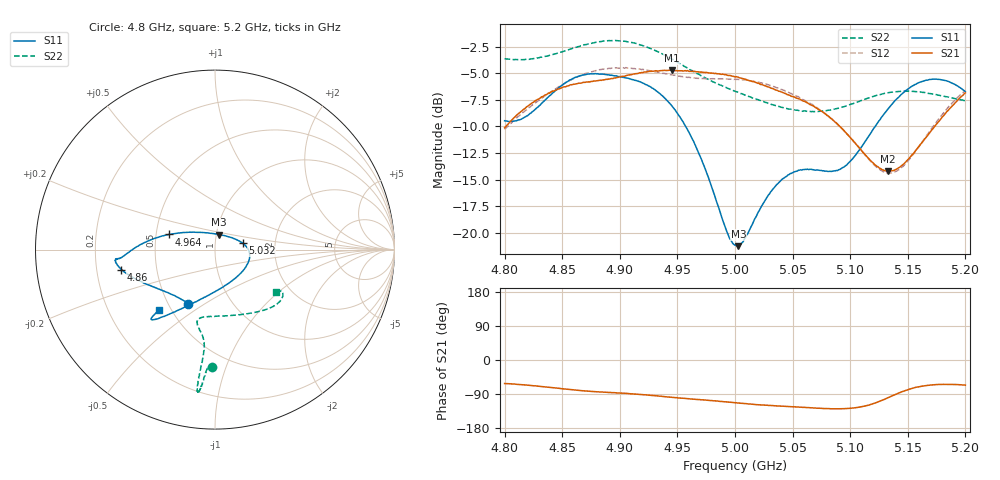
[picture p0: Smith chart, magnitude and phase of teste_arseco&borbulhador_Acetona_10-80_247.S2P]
! Network Analyzer HP8722D
! Hewlett-Packard
! Data name: Linha & Wilkinson
! Saver's name: Rodrigo Anjos
! Comments: Teste da utilização de aquisição
! continua pelo VNA HP8722D
! Time and date: 17/4/2025 16:25
!  Frequency  S11  S21  S12  S22
# HZ  S  MA R 50
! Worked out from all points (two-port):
!   401 points, 4.8 GHz to 5.2 GHz, reference 50 ohm
!   highest |S21| = -4.72 dB at 4.945 GHz (marker M1); lowest = -14.2 dB at 5.133 GHz (marker M2)
!   |S21| within 3 dB of the highest: 4.825 GHz to 5.062 GHz (236.3 MHz wide, 4.78 % of centre); 5.191742 GHz to end of sweep
!   lowest |S11| = -21.3 dB at 5.003 GHz (marker M3), VSWR 1.19, Z = 51.5 + j8.69 ohm
!   |S11| at or under -10 dB: 4.957 GHz to 5.122 GHz (164.6 MHz wide, 3.27 % of centre)
!   |S22| runs from -8.6 to -1.9 dB; largest |S21 - S12| = 0.87
!   S11 on the Smith chart (normalised r, x): 4.8 GHz: 0.63, -0.43; 4.86 GHz: 0.31, -0.10; 4.964 GHz: 0.59, +0.11; 5.032 GHz: 1.36, +0.10; 5.2 GHz: 0.43, -0.37
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4.8e9  0.336 -116.3  0.3114 -62.1  0.3061 -176.3  0.6569 -91.2
4.818e9  0.3502 -135.4  0.385 -65.9  0.3751 -175.9  0.6519 -92.8
4.86e9  0.5329 -168.0  0.4988 -78.7  0.5302 -179.1  0.7377 -95.2
4.867e9  0.549 -170.7  0.5057 -81.0  0.5505 179.6  0.757 -95.5
4.898e9  0.543 -174.6  0.5362 -86.7  0.5939 173.8  0.7992 -96.7
4.934e9  0.4541 179.5  0.5766 -95.4  0.5684 170.3  0.7044 -97.1
4.945e9  0.3959 174.4  0.5805 -98.4  0.5525 170.5  0.6554 -96.8
4.964e9  0.2692 161.7  0.574 -103.3  0.534 172.2  0.5717 -96.4
4.993e9  0.1009 113.3  0.5504 -110.8  0.5279 174.5  0.4787 -98.7
5e9  0.08744 87.7  0.5398 -112.8  0.5269 174.6  0.4621 -100.2
5.003e9  0.08651 75.5  0.5376 -113.7  0.5252 174.4  0.4559 -100.9
5.032e9  0.1579 13.0  0.4766 -120.3  0.4891 173.3  0.4003 -103.5
5.048e9  0.1898 -2.3  0.4412 -123.0  0.4522 172.7  0.3811 -99.5
5.067e9  0.1982 -22.6  0.3959 -126.2  0.4011 172.4  0.3712 -88.6
5.096e9  0.2066 -73.0  0.2962 -128.2  0.2964 174.6  0.3937 -66.1
5.121e9  0.312 -110.7  0.2095 -114.3  0.2079 -169.1  0.4387 -49.5
5.133e9  0.3828 -120.0  0.1944 -99.2  0.1908 -152.5  0.4548 -43.6
5.134e9  0.3885 -120.7  0.1945 -98.0  0.1905 -150.9  0.4559 -43.2
5.146e9  0.4547 -126.3  0.2094 -82.6  0.2052 -133.2  0.4626 -38.7
5.167e9  0.5211 -131.5  0.285 -67.0  0.2896 -113.7  0.4532 -33.4
5.184e9  0.5165 -132.9  0.3717 -64.4  0.3827 -108.6  0.4355 -32.2
5.2e9  0.4595 -132.9  0.454 -66.6  0.4651 -108.4  0.4168 -34.7
